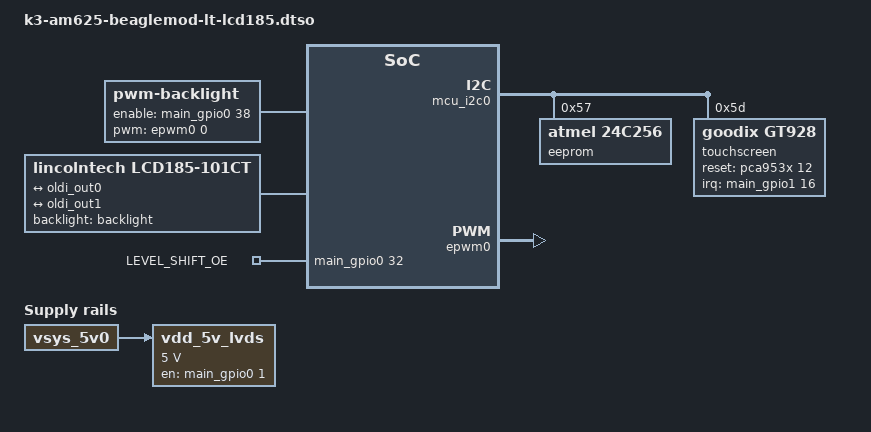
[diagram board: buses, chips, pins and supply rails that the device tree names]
// SPDX-License-Identifier: GPL-2.0
/*
 * Copyright (C) 2022 Texas Instruments Incorporated - https://www.ti.com/
 */

/dts-v1/;
/plugin/;

#include <dt-bindings/gpio/gpio.h>
#include <dt-bindings/interrupt-controller/irq.h>
#include "k3-pinctrl.h"

/*
 * Helper to show loaded overlays under: /proc/device-tree/chosen/overlays/
 */
&{/chosen} {
	overlays {
		k3-am625-beaglemod-lt-185lcd-panel.kernel = __TIMESTAMP__;
	};
};

/ {
	fragment@101 {
		target-path = "/";

		__overlay__ {
			backlight: backlight {
				pinctrl-names = "default";
				pinctrl-0 = <&backlight_pins_default>;

				compatible = "pwm-backlight";

				brightness-levels = <0 4 8 16 32 64 128 255>;
				default-brightness-level = <6>;

				enable-gpios = <&main_gpio0 38 GPIO_ACTIVE_HIGH>;
				pwms = <&epwm0 0 20000 0>;
			};

			lcd {
				compatible = "lincolntech,lcd185-101ct";
				backlight = <&backlight>;

				/*
				* Note that the OLDI TX 0 transmits the odd set of pixels
				* while the OLDI TX 1 transmits the even set. This is a
				* fixed configuration in the IP integration and is not
				* changeable. The properties, "dual-lvds-odd-pixels" and
				* "dual-lvds-even-pixels" have been used to merely
				* identify if a Dual Link configuration is required.
				* Swapping them will not make any difference.
				*/
				port@0 {
					dual-lvds-odd-pixels;
					lcd_in0: endpoint {
						remote-endpoint = <&oldi_out0>;
					};
				};

				port@1 {
					dual-lvds-even-pixels;
					lcd_in1: endpoint {
						remote-endpoint = <&oldi_out1>;
					};
				};
			};

			level_shift_oe: level-shift-oe {
				compatible = "gpio-leds";
				pinctrl-names = "default";
				pinctrl-0 = <&level_shift_oe_pins_default>;

				//lcd backlight 1v8 -> TXB0108PWR -> lcd backlight 3v3 -> lcd
				oe-pin {
					label = "LEVEL_SHIFT_OE";
					gpios = <&main_gpio0 32 GPIO_ACTIVE_HIGH>;
					default-state = "on";
				};
			};

			vdd_5v_lvds: regulator-lvds {
				pinctrl-names = "default";
				pinctrl-0 = <&vdd_5v_lvds_pins_default>;

				compatible = "regulator-fixed";
				regulator-name = "vdd_5v_lvds";
				regulator-min-microvolt = <5000000>;
				regulator-max-microvolt = <5000000>;
				enable-active-high;
				regulator-always-on;
				vin-supply = <&vsys_5v0>;
				gpio = <&main_gpio0 1 GPIO_ACTIVE_HIGH>;
			};
		};
	};
};

&main_pmx0 {
	oldi_pins_default: oldi-pins-default {
		pinctrl-single,pins = <
			AM62X_IOPAD(0x0260, PIN_OUTPUT, 0) /* (AA5) OLDI0_A0N */
			AM62X_IOPAD(0x025c, PIN_OUTPUT, 0) /* (Y6) OLDI0_A0P */
			AM62X_IOPAD(0x0268, PIN_OUTPUT, 0) /* (AD3) OLDI0_A1N */
			AM62X_IOPAD(0x0264, PIN_OUTPUT, 0) /* (AB4) OLDI0_A1P */
			AM62X_IOPAD(0x0270, PIN_OUTPUT, 0) /* (Y8) OLDI0_A2N */
			AM62X_IOPAD(0x026c, PIN_OUTPUT, 0) /* (AA8) OLDI0_A2P */
			AM62X_IOPAD(0x0278, PIN_OUTPUT, 0) /* (AB6) OLDI0_A3N */
			AM62X_IOPAD(0x0274, PIN_OUTPUT, 0) /* (AA7) OLDI0_A3P */
			AM62X_IOPAD(0x0280, PIN_OUTPUT, 0) /* (AC6) OLDI0_A4N */
			AM62X_IOPAD(0x027c, PIN_OUTPUT, 0) /* (AC5) OLDI0_A4P */
			AM62X_IOPAD(0x0288, PIN_OUTPUT, 0) /* (AE5) OLDI0_A5N */
			AM62X_IOPAD(0x0284, PIN_OUTPUT, 0) /* (AD6) OLDI0_A5P */
			AM62X_IOPAD(0x0290, PIN_OUTPUT, 0) /* (AE6) OLDI0_A6N */
			AM62X_IOPAD(0x028c, PIN_OUTPUT, 0) /* (AD7) OLDI0_A6P */
			AM62X_IOPAD(0x0298, PIN_OUTPUT, 0) /* (AD8) OLDI0_A7N */
			AM62X_IOPAD(0x0294, PIN_OUTPUT, 0) /* (AE7) OLDI0_A7P */
			AM62X_IOPAD(0x02a0, PIN_OUTPUT, 0) /* (AD4) OLDI0_CLK0N */
			AM62X_IOPAD(0x029c, PIN_OUTPUT, 0) /* (AE3) OLDI0_CLK0P */
			AM62X_IOPAD(0x02a8, PIN_OUTPUT, 0) /* (AE4) OLDI0_CLK1N */
			AM62X_IOPAD(0x02a4, PIN_OUTPUT, 0) /* (AD5) OLDI0_CLK1P */
		>;
	};

	touchscreen_pins_default: touchscreen-pins-default {
		pinctrl-single,pins = <
			AM62X_IOPAD(0x01b8, PIN_INPUT, 7) /* (C13) SPI0_CS1.GPIO1_16 */
		>;
	};

	backlight_pins_default: bl-pins-default {
		pinctrl-single,pins = <
			AM62X_IOPAD(0x01ac, PIN_OUTPUT, 6) /* (E19) MCASP0_AFSR.EHRPWM0_A */
			AM62X_IOPAD(0x009c, PIN_OUTPUT, 7) /* (V25) GPMC0_WAIT1.GPIO0_38 */
		>;
	};

	level_shift_oe_pins_default: level-shift-oe-pins-default {
		pinctrl-single,pins = <
			AM62X_IOPAD(0x0084, PIN_OUTPUT, 7) /* (L23) GPMC0_ADVn_ALE.GPIO0_32 */
		>;
	};

	vdd_5v_lvds_pins_default: vdd-5v-lvds-pins-default {
		pinctrl-single,pins = <
			AM62X_IOPAD(0x0004, PIN_OUTPUT, 7) /* (G25) OSPI0_LBCLKO.GPIO0_1 */
		>;
	};
};

&main_gpio0 {
	status = "okay";
};

&main_gpio1 {
	status = "okay";
};

&dss {
	pinctrl-names = "default";
	pinctrl-0 = <&oldi_pins_default>;
};

&dss_ports {
	#address-cells = <1>;
	#size-cells = <0>;

	/* VP1: LVDS Output (OLDI TX 0) */
	port@0 {
		reg = <0>;
		oldi_out0: endpoint {
			remote-endpoint = <&lcd_in0>;
		};
	};

	/* VP1: LVDS Output (OLDI TX 1) */
	port@2 {
		reg = <2>;
		oldi_out1: endpoint {
			remote-endpoint = <&lcd_in1>;
		};
	};
};

&mcu_i2c0 {
	#address-cells = <1>;
	#size-cells = <0>;
	status = "okay";

	eeprom@57 {
		compatible = "atmel,24c256";
		reg = <0x57>;
	};


	touchscreen@5d {
	        compatible = "goodix,gt928";
	        reg = <0x5d>;

	        pinctrl-names = "default";
	        pinctrl-0 = <&touchscreen_pins_default>;

	        interrupt-parent = <&main_gpio1>;
	        interrupts = <16 IRQ_TYPE_EDGE_FALLING>;

		touchscreen-size-x = <1920>;
		touchscreen-size-y = <1200>;

		reset-gpios = <&pca953x 12 GPIO_ACTIVE_HIGH>;
		irq-gpios = <&main_gpio1 16 GPIO_ACTIVE_HIGH>;
	};
};

&epwm0 {
	status = "okay";
};
